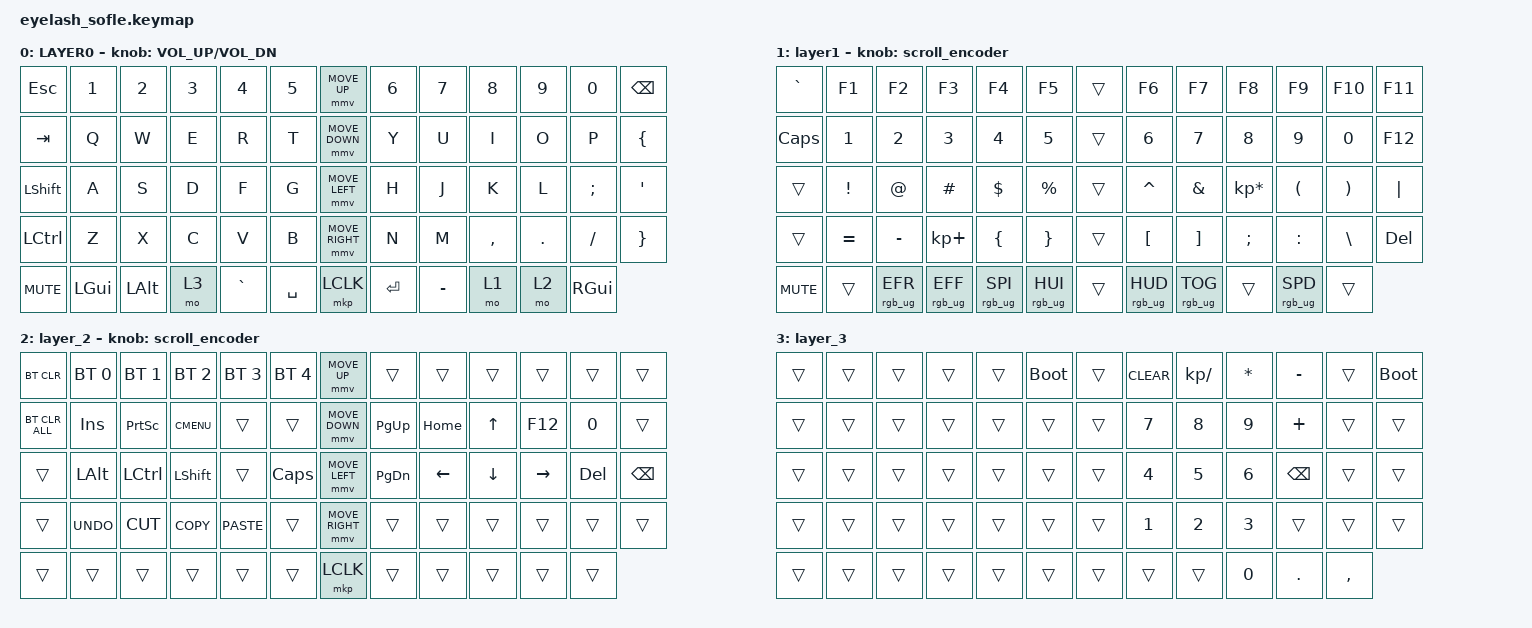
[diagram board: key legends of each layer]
#define ZMK_POINTING_DEFAULT_MOVE_VAL 1200  // 600
#define ZMK_POINTING_DEFAULT_SCRL_VAL 25   // 10

#include <input/processors.dtsi>
#include <zephyr/dt-bindings/input/input-event-codes.h>
#include <behaviors.dtsi>
#include <dt-bindings/zmk/bt.h>
#include <dt-bindings/zmk/keys.h>
#include <dt-bindings/zmk/pointing.h>
#include <dt-bindings/zmk/rgb.h>

&mmv_input_listener { input-processors = <&zip_xy_scaler 2 1>; };

&msc_input_listener { input-processors = <&zip_scroll_scaler 2 1>; };

&msc {
    acceleration-exponent = <1>;      // 0
    time-to-max-speed-ms = <100>;       // 300
    delay-ms = <0>;                   // 0
};

&mmv {
    time-to-max-speed-ms = <500>;
    acceleration-exponent = <1>;
    trigger-period-ms = <16>;
};

&soft_off { hold-time-ms = <2000>; };

/ {
    scroll_encoder: scroll_encoder {
        compatible = "zmk,behavior-sensor-rotate";
        #sensor-binding-cells = <0>;
        bindings = <&msc SCRL_DOWN>, <&msc SCRL_UP>;

        tap-ms = <100>;
    };

    behaviors {
    };

    combos {
        compatible = "zmk,combos";

        softoff {
            bindings = <&soft_off>;
            key-positions = <14 28 40>;
        };
    };

    keymap {
        compatible = "zmk,keymap";

        layer0 {
            bindings = <
&kp ESC           &kp N1        &kp N2        &kp N3  &kp N4     &kp N5       &mmv MOVE_UP     &kp N6     &kp N7     &kp N8     &kp N9   &kp N0         &kp BACKSPACE
&kp TAB           &kp Q         &kp W         &kp E   &kp R      &kp T        &mmv MOVE_DOWN   &kp Y      &kp U      &kp I      &kp O    &kp P          &kp LEFT_BRACE
&kp LEFT_SHIFT    &kp A         &kp S         &kp D   &kp F      &kp G        &mmv MOVE_LEFT   &kp H      &kp J      &kp K      &kp L    &kp SEMI       &kp SQT
&kp LEFT_CONTROL  &kp Z         &kp X         &kp C   &kp V      &kp B        &mmv MOVE_RIGHT  &kp N      &kp M      &kp COMMA  &kp DOT  &kp FSLH       &kp RIGHT_BRACE
&kp C_MUTE        &kp LEFT_GUI  &kp LEFT_ALT  &mo 3   &kp GRAVE  &kp SPACE    &mkp LCLK        &kp ENTER  &kp MINUS  &mo 1      &mo 2    &kp RIGHT_GUI
            >;

            sensor-bindings = <&inc_dec_kp C_VOLUME_UP C_VOL_DN>;
            display-name = "LAYER0";
        };

        layer_1 {
            bindings = <
&kp GRAVE   &kp F1     &kp F2           &kp F3           &kp F4           &kp F5             &trans  &kp F6           &kp F7           &kp F8           &kp F9           &kp F10   &kp F11
&kp CAPS    &kp N1     &kp N2           &kp N3           &kp N4           &kp N5             &trans  &kp N6           &kp N7           &kp N8           &kp N9           &kp N0    &kp F12
&trans      &kp EXCL   &kp AT           &kp HASH         &kp DOLLAR       &kp PRCNT          &trans  &kp CARET        &kp AMPS         &kp KP_MULTIPLY  &kp LPAR         &kp RPAR  &kp PIPE
&trans      &kp EQUAL  &kp MINUS        &kp KP_PLUS      &kp LEFT_BRACE   &kp RIGHT_BRACE    &trans  &kp LBKT         &kp RBKT         &kp SEMI         &kp COLON        &kp BSLH  &kp DEL
&kp C_MUTE  &trans     &rgb_ug RGB_EFR  &rgb_ug RGB_EFF  &rgb_ug RGB_SPI  &rgb_ug RGB_HUI    &trans  &rgb_ug RGB_HUD  &rgb_ug RGB_TOG  &trans           &rgb_ug RGB_SPD  &trans
            >;

            display-name = "layer1";
            sensor-bindings = <&scroll_encoder>;
        };

        layer_2 {
            bindings = <
&bt BT_CLR      &bt BT_SEL 0  &bt BT_SEL 1      &bt BT_SEL 2    &bt BT_SEL 3  &bt BT_SEL 4    &mmv MOVE_UP     &trans     &trans    &trans    &trans     &trans      &trans
&bt BT_CLR_ALL  &kp INS       &kp PSCRN         &kp K_CMENU     &trans        &trans          &mmv MOVE_DOWN   &kp PG_UP  &kp HOME  &kp UP    &kp F12    &kp N0      &trans
&trans          &kp LALT      &kp LEFT_CONTROL  &kp LEFT_SHIFT  &trans        &kp CAPS        &mmv MOVE_LEFT   &kp PG_DN  &kp LEFT  &kp DOWN  &kp RIGHT  &kp DELETE  &kp BACKSPACE
&trans          &kp K_UNDO    &kp K_CUT         &kp K_COPY      &kp K_PASTE   &trans          &mmv MOVE_RIGHT  &trans     &trans    &trans    &trans     &trans      &trans
&trans          &trans        &trans            &trans          &trans        &trans          &mkp LCLK        &trans     &trans    &trans    &trans     &trans
            >;

            sensor-bindings = <&scroll_encoder>;
        };

        layer_3 {
            bindings = <
&trans  &trans  &trans  &trans  &trans  &bootloader    &trans  &kp CLEAR     &kp KP_SLASH  &kp ASTRK     &kp MINUS      &trans     &bootloader
&trans  &trans  &trans  &trans  &trans  &trans         &trans  &kp NUMBER_7  &kp NUMBER_8  &kp NUMBER_9  &kp PLUS       &trans     &trans
&trans  &trans  &trans  &trans  &trans  &trans         &trans  &kp NUMBER_4  &kp NUMBER_5  &kp NUMBER_6  &kp BACKSPACE  &trans     &trans
&trans  &trans  &trans  &trans  &trans  &trans         &trans  &kp NUMBER_1  &kp NUMBER_2  &kp NUMBER_3  &trans         &trans     &trans
&trans  &trans  &trans  &trans  &trans  &trans         &trans  &trans        &trans        &kp NUMBER_0  &kp PERIOD     &kp COMMA
            >;
        };
    };
};
